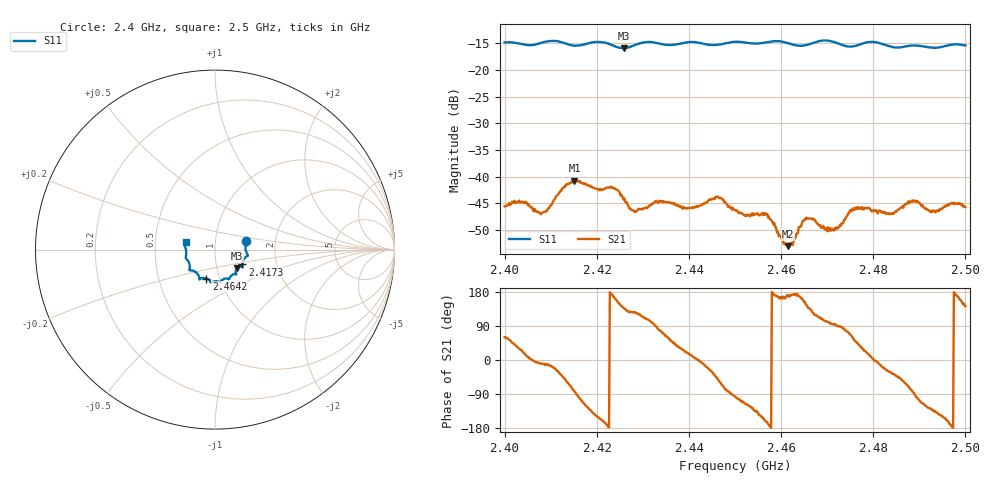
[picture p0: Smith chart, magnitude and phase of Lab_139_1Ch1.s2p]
# Hz S RI R 50
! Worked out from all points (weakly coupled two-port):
!   601 points, 2.4 GHz to 2.5 GHz, reference 50 ohm
!   highest |S21| = -40.78 dB at 2.4152 GHz (marker M1); lowest = -53.0 dB at 2.4615 GHz (marker M2)
!   lowest |S11| = -15.9 dB at 2.4258 GHz (marker M3), VSWR 1.38, Z = 62.2 - j13.2 ohm
!   |S11| at or under -10 dB: start of sweep to end of sweep
!   S12 and S22 are empty: the file has one direction only
!   S11 on the Smith chart (normalised r, x): 2.4 GHz: 1.41, +0.14; 2.4173 GHz: 1.34, -0.23; 2.4642 GHz: 0.86, -0.29; 2.5 GHz: 0.72, +0.06
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2.4e9  0.1737 0.0493  0.00263 0.00457  0 0  0 0
2.404e9  0.1715 0.025  0.0053 0.00203  0 0  0 0
2.408333e9  0.1797 -0.024  0.00455 -0.000811  0 0  0 0
2.415167e9  0.1581 -0.0572  0.00111 -0.00907  0 0  0 0
2.416667e9  0.1529 -0.075  -0.00251 -0.00838  0 0  0 0
2.417333e9  0.1523 -0.0826  -0.00375 -0.00772  0 0  0 0
2.425833e9  0.1213 -0.1037  -0.00444 0.00417  0 0  0 0
2.428167e9  0.1148 -0.1253  -0.00276 0.00382  0 0  0 0
2.433333e9  0.1126 -0.1365  0.00082 0.00562  0 0  0 0
2.44e9  0.0799 -0.1634  0.00487 0.00135  0 0  0 0
2.446333e9  0.0444 -0.1661  0.004 -0.00513  0 0  0 0
2.45e9  0.0295 -0.1808  -0.000554 -0.00481  0 0  0 0
2.457e9  -0.0137 -0.1809  -0.0043 -0.00116  0 0  0 0
2.4615e9  -0.0274 -0.1755  -0.0022 0.000347  0 0  0 0
2.464167e9  -0.0481 -0.1611  -0.00328 0.00084  0 0  0 0
2.466667e9  -0.0763 -0.1597  -0.00251 0.00317  0 0  0 0
2.471333e9  -0.087 -0.1611  -0.000255 0.00319  0 0  0 0
2.476e9  -0.1163 -0.1195  0.0032 0.00398  0 0  0 0
2.483333e9  -0.1408 -0.0898  0.00394 -0.00231  0 0  0 0
2.4885e9  -0.1619 -0.0484  0.000752 -0.00596  0 0  0 0
2.493e9  -0.1605 -0.0138  -0.00332 -0.00351  0 0  0 0
2.5e9  -0.1637 0.0415  -0.00406 0.00321  0 0  0 0
